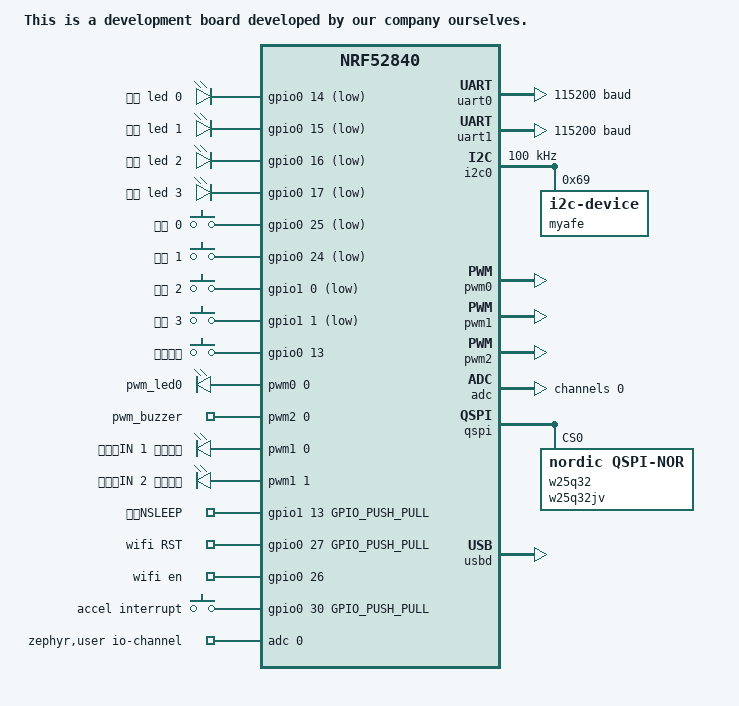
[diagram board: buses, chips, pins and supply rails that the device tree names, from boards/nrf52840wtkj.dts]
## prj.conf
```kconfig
CONFIG_GPIO=y
CONFIG_LOG=y
CONFIG_SERIAL=y
CONFIG_UART_ASYNC_API=y

CONFIG_I2C=y
CONFIG_I2C_NRFX=y
CONFIG_PINCTRL=y

CONFIG_SENSOR=y
# myaccel 节点用的是 "st,lis2dh-common"（main.c 直接走 I2C 读写寄存器），
# 而 CONFIG_LIS2DH 依赖 DT_HAS_ST_LIS2DH_ENABLED（即 compatible = "st,lis2dh"），
# 依赖不满足会被 Kconfig 当成 warning 并中止构建，所以不要在这里打开 LIS2DH。
# 若以后改用 Zephyr sensor API，把 overlay 里的 compatible 改成 "st,lis2dh"。

CONFIG_DISPLAY=y
CONFIG_SSD1306=y
CONFIG_CHARACTER_FRAMEBUFFER=y
CONFIG_CHARACTER_FRAMEBUFFER_USE_DEFAULT_FONTS=y

CONFIG_HEAP_MEM_POOL_SIZE=4096
```

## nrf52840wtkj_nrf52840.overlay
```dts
&i2c0 {
    status = "okay";
    clock-frequency = <I2C_BITRATE_STANDARD>;
    zephyr,concat-buf-size = <1040>;
    zephyr,flash-buf-max-size = <1040>;

    ssd1306: ssd1306@3c {
        compatible = "solomon,ssd1306";
        reg = <0x3c>;
        width = <128>;
        height = <64>;

        segment-offset = <0>;
        page-offset = <0>;
        display-offset = <0>;
        multiplex-ratio = <63>;
        segment-remap;
        com-invdir;
        prechargep = <0x22>;
    };
    	myaccel: myaccel@18 {
        compatible = "st,lis2dh-common";
        reg = <0x18>;
    };
};

/ {
    chosen {
        zephyr_display = &ssd1306;  // 这里是下划线 _，不是逗号 ,
    };
};
```

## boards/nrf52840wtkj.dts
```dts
/dts-v1/;
#include <nordic/nrf52840_qiaa.dtsi>
#include "nrf52840wtkj-pinctrl.dtsi"
#include <zephyr/dt-bindings/input/input-event-codes.h>

/ {
	model = "This is a development board developed by our company ourselves.";
	compatible = "wtkj,nrf52840wtkj";

	chosen {
		zephyr,sram = &sram0;
		zephyr,flash = &flash0;
		zephyr,code-partition = &slot0_partition;
		zephyr,console =  &uart0 ;
		zephyr,shell-uart =  &uart0;
		zephyr,uart-mcumgr = &uart0;
		// 为应用程序添加外部闪存
		nordic,pm-ext-flash=&w25q32;
	};

	leds{
		compatible = "gpio-leds";
		led0: led_0{
			gpios = <&gpio0 14 GPIO_ACTIVE_LOW>;
			label = "蓝色 led 0";
		};
		led1: led_1{
			gpios = <&gpio0 15 GPIO_ACTIVE_LOW>;
			label = "蓝色 led 1";
		};
		led2: led_2{
			gpios = <&gpio0 16 GPIO_ACTIVE_LOW>;
			label = "蓝色 led 2";
		};
		led3: led_3{
			gpios = <&gpio0 17 GPIO_ACTIVE_LOW>;
			label = "蓝色 led 3";
		};
	};
	buttons{
		compatible = "gpio-keys";
		button0: button_0{
			gpios = <&gpio0 25 (GPIO_ACTIVE_LOW | GPIO_PULL_UP)>;
			label = "按键 0";
			zephyr,code = <INPUT_KEY_0>;
		};
		button1: button_1{
			gpios = <&gpio0 24 (GPIO_PULL_UP|GPIO_ACTIVE_LOW)>;
			label = "按键 1";
			zephyr,code = <INPUT_KEY_1>;
		};
		button2: button_2{
			gpios = <&gpio1 0 (GPIO_ACTIVE_LOW | GPIO_PULL_UP)>;
			label = "按键 2";
			zephyr,code = <INPUT_KEY_2>;
		};
		button3: button_3{
			gpios = <&gpio1 1 (GPIO_ACTIVE_LOW | GPIO_PULL_UP)>;
			label = "按键 3";
			zephyr,code = <INPUT_KEY_3>;
		};
		touch: button_touch{
			gpios = <&gpio0 13 (GPIO_ACTIVE_HIGH | GPIO_PULL_DOWN)>;
			label = "触控按键";
			zephyr,code = <INPUT_KEY_4>;
		};
	};
	pwmleds{
		compatible = "pwm-leds";
		pwm_led0: pwm_led_0{
			pwms = <&pwm0 0 PWM_MSEC(20) PWM_POLARITY_NORMAL>;
		};
	};
	pwmbuzzer{
		compatible = "pwm-leds";
		pwm_buzzer: pwm_buzzer{
			pwms = <&pwm2 0 PWM_USEC(500) PWM_POLARITY_NORMAL>; //pwm 周期为500us
		};
	};
	motordriver {
		compatible = "pwm-leds";

		/* 通道0：控制电机正转/方向1（关联PWM1通道0） */
		motor_in_1: motor_in_1{
			pwms = <&pwm1 0 PWM_MSEC(20) PWM_POLARITY_NORMAL>;
			label = "电机的IN 1 引脚控制";
		};
		/* 通道1：控制电机反转/方向2（关联PWM1通道1） */
		motor_in_2: motor_in_2{
			pwms = <&pwm1 1 PWM_MSEC(20) PWM_POLARITY_NORMAL>;
			label = "电机的IN 2 引脚控制";
		};
	};
	gpiokeys{
		compatible = "gpio-keys";
		motor_nsleep: motor_nsleep{
			gpios = <&gpio1 13 GPIO_PUSH_PULL>;
			label = "电机NSLEEP";
		};
		wifi_rst: wifi_rst{
			gpios = <&gpio0 27 GPIO_PUSH_PULL>;
			label = "wifi RST";
		};
		wifi_en: wifi_en{
			gpios = <&gpio0 26 0>;
			label = "wifi en";
		};
		accel_interrupt: accel_interrupt{
			gpios = <&gpio0 30 GPIO_PUSH_PULL>;
			label = "accel interrupt";
		};
	};

	/* These aliases are provided for compatibility with samples */
	aliases {
		led0 = &led0;
		led1 = &led1;
		led2 = &led2;
		led3 = &led3;
		pwm-led0 = &pwm_led0;
		sw0 = &button0;
		sw1 = &button1;
		sw2 = &button2;
		sw3 = &button3;
		sw4 = &touch;
		bootloader-led0 = &led0;
		mcuboot-button0 = &button0;
		mcuboot-led0 = &led0;
		watchdog0 = &wdt0;
	};

	zephyr,user {
		io-channels = <&adc 0>;
	};
};

&flash0 {
	partitions {
		compatible = "fixed-partitions";
		#address-cells = <1>;
		#size-cells = <1>;

		boot_partition: partition@0 {
			label = "mcuboot";
			reg = <0x00000000 DT_SIZE_K(48)>;
		};

		slot0_partition: partition@c000 {
			label = "image-0";
			reg = <0x0000c000 DT_SIZE_K(472)>;
		};

		slot1_partition: partition@82000 {
			label = "image-1";
			reg = <0x00082000 DT_SIZE_K(472)>;
		};

		storage_partition: partition@f8000 {
			label = "storage";
			reg = <0x000f8000 DT_SIZE_K(32)>;
		};
	};
};
&gpiote {
	status = "okay";
};
&gpio0 {
	status = "okay";
};
&gpio1 {
	status = "okay";
};

//配置uart0
&uart0 {
	compatible = "nordic,nrf-uarte";
	status = "okay";
	current-speed = <115200>;
	pinctrl-0 = <&uart0_default>;
	pinctrl-1 = <&uart0_sleep>;
	pinctrl-names = "default","sleep";
};

//配置uart1
&uart1 {
	compatible = "nordic,nrf-uarte";
	status = "okay";
	current-speed = <115200>;
	pinctrl-0 = <&uart1_default>;
	pinctrl-1 = <&uart1_sleep>;
	pinctrl-names = "default","sleep";
};

//配置i2c0
&i2c0 {
	compatible = "nordic,nrf-twim";
	status = "okay";
	pinctrl-0 = <&i2c0_default>;
	pinctrl-1 = <&i2c0_sleep>;
	pinctrl-names = "default","sleep";
	clock-frequency = <I2C_BITRATE_STANDARD>;
	myafe: max30009@69 {
		compatible = "i2c-device";
		reg = <0x69>;
	};
};

//配置pwm0
&pwm0 {
	status = "okay";
	pinctrl-0 = <&pwm0_default>;
	pinctrl-1 = <&pwm0_sleep>;//注：这里有下画波浪线，是因为引脚被 led0 也使用了。
	pinctrl-names = "default","sleep";
};

//配置pwm1
&pwm1 {
	status = "okay";
	pinctrl-0 = <&pwm1_default>;
	pinctrl-1 = <&pwm1_sleep>;
	pinctrl-names = "default","sleep";
};
&pwm2 {
	status = "okay";
	pinctrl-0 = <&pwm2_default>;
	pinctrl-1 = <&pwm2_sleep>;
	pinctrl-names = "default","sleep";
};
&adc {
	#address-cells = <1>;
	#size-cells = <0>;
	status = "okay";
	channel@0 {
		reg = <0>;
		zephyr,gain = "ADC_GAIN_1_6";//增益 6倍
		zephyr,reference = "ADC_REF_INTERNAL"; //内部 0.6伏参考电压
		zephyr,acquisition-time = <ADC_ACQ_TIME_DEFAULT>;//采样时间
		zephyr,input-positive = <NRF_SAADC_AIN0>; /* P0.02 for nRF52xx, P0.04 for nRF5340 */
		zephyr,resolution = <12>;//分辨率12位
	};
};


&qspi {
	status = "okay";
	pinctrl-0 = <&qspi_default>;
	pinctrl-1 = <&qspi_sleep>;
	pinctrl-names = "default", "sleep";
	w25q32: w25q32jv@0 {
		compatible = "nordic,qspi-nor";
		status = "okay";
		reg = <0x0>;
		sck-frequency = <10000000>;/*时钟频率10Mhz */
		jedec-id = [ ef 40 16  ]; /* 厂商ID+设备ID，手册8.1节 */
		size = <0x2000000>;/* 这里填写flash大小（位） 0x2000000 位 = 0x400000 字节 =  4096kB = 4MB */

		/* Quad 读指令：Fast Read Quad Output（0x6Bh），需 QE=1 */
		readoc = "fastread";
		/* Quad 写指令：Quad Input Page Program（0x32h），需 QE=1 */
		writeoc = "pp";

		sfdp-bfp = [ e5 20 f1 ff ff ff ff 03 44 eb 08 6b 08 3b 04 bb ee ff ff ff ff ff 00 ff ff ff 00 ff 0c 10 0f 52 10 d8 00 ff 23 72 f5 00 82 ed 04 cc 44 83 68 44 30 b0 30 b0 f7 c4 d5 5c 00 be 29 ff f0 d0 ff ff  ];
		has-dpd;                          // W25Q32 支持 DPD，保留该属性
		t-enter-dpd = <300>;              // 进入 DPD 模式等待时间：0.3 微秒（µs，datasheet 规定最小 300ns）
		t-exit-dpd = <10000>;             // 退出 DPD 模式等待时间：10 微秒（µs，需等待芯片唤醒稳定）

	};
};

// &i2s0 {
	//     status = "okay";
	//     pinctrl-0 = <&i2s0_default>;
	//     pinctrl-1 = <&i2s0_sleep>;
	//     pinctrl-names = "default", "sleep";
// };


zephyr_udc0: &usbd {
	compatible = "nordic,nrf-usbd";
	status = "okay";
};
&uicr {
	gpio-as-nreset;
};
```

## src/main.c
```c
//加速度传感器 LIS2DH12 测试程序
#include <errno.h>
#include <stdint.h>
#include <zephyr/drivers/i2c.h>
#include <zephyr/kernel.h>
#include <zephyr/sys/util.h>
#include <zephyr/logging/log.h>
#include <zephyr/drivers/uart.h>
#include <zephyr/kernel.h>
#include <zephyr/device.h>
#include <zephyr/drivers/display.h>
#include <zephyr/display/cfb.h>

#define LIS2DH12_REG_WHO_AM_I       0x0F
#define LIS2DH12_REG_CTRL1          0x20
#define LIS2DH12_REG_CTRL4          0x23
#define LIS2DH12_REG_STATUS         0x27
#define LIS2DH12_REG_OUT_X_L        0x28
#define LIS2DH12_WHO_AM_I_VALUE     0x33
#define LIS2DH12_AUTO_INCREMENT     BIT(7)
//CTRL_REG1：100 Hz，X/Y/Z 启用，高分辨率模式。
#define LIS2DH12_CTRL1_ODR_100_HZ   (5U << 4)
#define LIS2DH12_CTRL1_XYZ_ENABLE   (BIT(0) | BIT(1) | BIT(2))
#define LIS2DH12_CTRL1_VALUE        \
	(LIS2DH12_CTRL1_ODR_100_HZ | LIS2DH12_CTRL1_XYZ_ENABLE)
//CTRL_REG4：块数据更新，高分辨率，量程为±2g
#define LIS2DH12_CTRL4_BDU          BIT(7)
#define LIS2DH12_CTRL4_FS_2G        (0U << 4)
#define LIS2DH12_CTRL4_HR           BIT(3)
#define LIS2DH12_CTRL4_VALUE        \
	(LIS2DH12_CTRL4_BDU | LIS2DH12_CTRL4_FS_2G | LIS2DH12_CTRL4_HR)
#define LIS2DH12_STATUS_DRDY_MASK   BIT_MASK(4)
#define LIS2DH12_ACCEL_BURST_SIZE   7U

#define UART_NODE DT_NODELABEL(uart0)
LOG_MODULE_REGISTER(main, LOG_LEVEL_DBG);
const struct device *uart_dev = DEVICE_DT_GET(UART_NODE);
uint8_t rx_buf[10]={0};
uint8_t tx_buf[128];

static const struct i2c_dt_spec lis2dh12 =I2C_DT_SPEC_GET(DT_NODELABEL(myaccel));

static void i2c_scan(const struct device *bus)
{
    printk("scanning...\n");
    for (uint8_t addr = 0x08; addr <= 0x77; addr++) {
        uint8_t dummy;
        if (i2c_read(bus, &dummy, 1, addr) == 0) {
            printk("  found 0x%02X\n", addr);
        }
    }
}

void uart_cd(const struct device *dev, 
    struct uart_event *evt, void *user_data)
{
    switch(evt->type)
    {
        case UART_TX_DONE:
            LOG_INF("整个TX缓冲区已传输完毕。");
            break;
        case UART_TX_ABORTED:
            LOG_INF("由于超时或调用了uart_tx_abort，传输被中止");
            break;
        case UART_RX_RDY:
            LOG_INF("已接收的数据已准备好进行处理。");
            LOG_INF("接收到数据时：%s", evt->data.rx.buf);
            break;
        case UART_RX_BUF_REQUEST:
            LOG_INF("驱动程序请求下一个缓冲区以实现连续接收");
            break;
        case UART_RX_BUF_RELEASED:
            LOG_INF(" UART 驱动程序不再使用缓冲区");
            break;
        case  UART_RX_DISABLED: 
            uart_rx_enable(uart_dev,rx_buf,sizeof(rx_buf),100);
            LOG_INF(" RX 已被禁用，可以重新启用。");
            break;
        case  UART_RX_STOPPED:
            LOG_INF("RX 因外部事件而停止运行。");
            break;
        default:
            LOG_INF("Unknown event type: %d", evt->type);
            break;
    }

}

struct lis2dh12_sample {
	uint8_t status;

	int16_t x_raw;
	int16_t y_raw;
	int16_t z_raw;

	int32_t x_mg;
	int32_t y_mg;
	int32_t z_mg;
};

static int lis2dh12_write_reg(uint8_t reg, uint8_t value)
{
	uint8_t buffer[2] = {reg, value};

	return i2c_write_dt(&lis2dh12, buffer, sizeof(buffer));
}

static int lis2dh12_init(void)
{
	uint8_t id = 0;
	int ret;

	if (!i2c_is_ready_dt(&lis2dh12)) {
		printk("LIS2DH12: I2C bus is not ready\n");
		return -ENODEV;
	}
	//The device needs a few milliseconds after power-on. 
	k_sleep(K_MSEC(10));

	ret = i2c_reg_read_byte_dt(&lis2dh12, LIS2DH12_REG_WHO_AM_I, &id);
	if (ret < 0) {
		printk("LIS2DH12: WHO_AM_I read failed: %d\n", ret);
		return ret;
	}
	if (id != LIS2DH12_WHO_AM_I_VALUE) {
		printk("LIS2DH12: unexpected WHO_AM_I 0x%02X\n", id);
		return -ENODEV;
	}
	// 在更改传感器配置时，请停止传感器
	ret = lis2dh12_write_reg(LIS2DH12_REG_CTRL1, 0);
	if (ret < 0) {
		return ret;
	}

	ret = lis2dh12_write_reg(LIS2DH12_REG_CTRL4, LIS2DH12_CTRL4_VALUE);
	if (ret < 0) {
		return ret;
	}

	ret = lis2dh12_write_reg(LIS2DH12_REG_CTRL1, LIS2DH12_CTRL1_VALUE);
	if (ret < 0) {
		return ret;
	}

	k_sleep(K_MSEC(20));
	printk("LIS2DH12: initialized, WHO_AM_I=0x%02X\n", id);

	return 0;
}
//在±2 g的高分辨率模式下，12位原始值的标度为
//每计数单位约1000/1024毫克。
static int32_t lis2dh12_raw_to_mg(int16_t raw)
{
	int32_t scaled = (int32_t)raw * 1000;

	return (scaled >= 0) ? ((scaled + 512) / 1024)
			     : ((scaled - 512) / 1024);
}

static void lis2dh12_get_axis(const uint8_t data[LIS2DH12_ACCEL_BURST_SIZE],
			      size_t offset, int16_t *raw, int32_t *mg)
{
	int16_t value;

	value = (int16_t)((uint16_t)data[offset] |
			  ((uint16_t)data[offset + 1] << 8));

	//LIS2DH 数据为左对齐；保留带符号的 12 位值。
	*raw = value >> 4;
	*mg = lis2dh12_raw_to_mg(*raw);
}

static int lis2dh12_read(struct lis2dh12_sample *sample)
{
	uint8_t data[LIS2DH12_ACCEL_BURST_SIZE];
	int ret;
	//
    //在一次自动递增的传输中读取 STATUS 以及随后的 X/Y/Z 的 LSB/MSB。
    //这样可以确保三个轴的数据均来自同一个采样点。
    //
	ret = i2c_burst_read_dt(
		&lis2dh12,
		LIS2DH12_REG_STATUS | LIS2DH12_AUTO_INCREMENT,
		data,
		sizeof(data));

	if (ret < 0) {
		return ret;
	}

	sample->status = data[0];
	if ((sample->status & LIS2DH12_STATUS_DRDY_MASK) == 0U) {
		return -EAGAIN;
	}

	lis2dh12_get_axis(data, 1, &sample->x_raw, &sample->x_mg);
	lis2dh12_get_axis(data, 3, &sample->y_raw, &sample->y_mg);
	lis2dh12_get_axis(data, 5, &sample->z_raw, &sample->z_mg);

	return 0;
}
int main(void)
{
    i2c_scan(DEVICE_DT_GET(DT_BUS(DT_NODELABEL(myaccel))));

    const struct device *dev = DEVICE_DT_GET(DT_CHOSEN(zephyr_display));

    /* OLED缓冲区，用于数字格式化输出 */
    char oled_buf[128];

    /* -------- UART配置 -------- */
    struct uart_config cfg = {
        .baudrate=115200,
        .parity=UART_CFG_PARITY_NONE,
        .stop_bits=UART_CFG_STOP_BITS_1,
        .data_bits=UART_CFG_DATA_BITS_8,
        .flow_ctrl=UART_CFG_FLOW_CTRL_NONE
    };

    if (!device_is_ready(uart_dev))
    {
        printk("uart_dev not ready!\n");
        while(1) k_sleep(K_FOREVER);
    }
    uart_configure(uart_dev, &cfg);
    uart_callback_set(uart_dev, uart_cd, NULL);
    uart_rx_enable(uart_dev,rx_buf,sizeof(rx_buf),100);

    /* -------- OLED初始化：只执行1次，放到while外面 -------- */
    if (!device_is_ready(dev))
    {
        printk("display device not ready!\n");
        while(1) k_sleep(K_FOREVER);
    }
    if (cfb_framebuffer_init(dev) != 0)
    {
        printk("cfb_framebuffer_init failed!\n");
        return -1;
    }

    /* -------- LIS2DH12初始化 -------- */
    struct lis2dh12_sample sample = {0};
    int ret;
    ret = lis2dh12_init();
    if (ret < 0) {
        printk("LIS2DH12: initialization failed: %d\n", ret);
        while (1) {
            k_sleep(K_FOREVER);
        }
    }

    while (1)
    {
        ret = lis2dh12_read(&sample);
        if (ret == 0)
        {
            //UART打印
            int len = snprintf(tx_buf, sizeof(tx_buf),
                "raw X=%d Y=%d Z=%d | mg X=%d Y=%d Z=%d\n",
                sample.x_raw, sample.y_raw, sample.z_raw,
                sample.x_mg, sample.y_mg, sample.z_mg);
            int tx_ret = uart_tx(uart_dev, tx_buf, len, SYS_FOREVER_MS);
            (void)tx_ret; //消除未使用警告

            //RTT打印
            printk("raw X=%d Y=%d Z=%d | mg X=%d Y=%d Z=%d\n",
                   sample.x_raw, sample.y_raw, sample.z_raw,
                   sample.x_mg, sample.y_mg, sample.z_mg);

            /* ========== OLED刷新输出 ========== */
            cfb_framebuffer_clear(dev, false);

            snprintf(oled_buf, sizeof(oled_buf),"R:%d %d %d",
                     sample.x_raw, sample.y_raw, sample.z_raw);
            cfb_print(dev, oled_buf, 0, 32);
			snprintf(oled_buf, sizeof(oled_buf),"M:%d %d %d",
                     sample.x_mg,sample.y_mg,sample.z_mg);
            cfb_print(dev, oled_buf, 0, 1);

            cfb_framebuffer_finalize(dev);
        }
        k_sleep(K_MSEC(100));
    }
}
```
